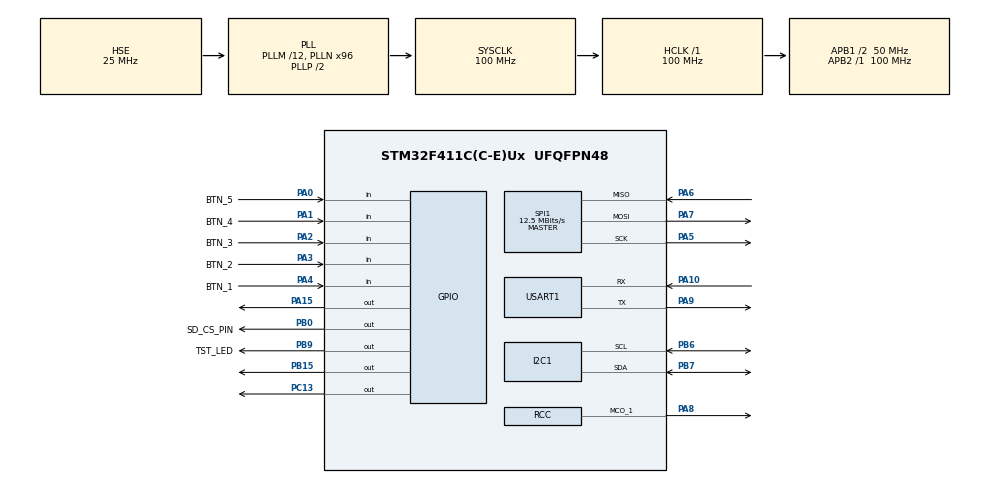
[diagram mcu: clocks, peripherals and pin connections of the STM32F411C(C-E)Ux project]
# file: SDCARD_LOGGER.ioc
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FATFS._MAX_SS=4096
FATFS._USE_LFN=1
IWDG.Prescaler=IWDG_PRESCALER_8
Mcu.Family=STM32F4
Mcu.Name=STM32F411C(C-E)Ux
Mcu.Package=UFQFPN48
NVIC.PriorityGroup=NVIC_PRIORITYGROUP_4
NVIC.USART1_IRQn=true\:0\:0\:false\:false\:true\:true\:true\:true
PA0-WKUP.GPIO_Label=BTN_5
PA0-WKUP.Signal=GPIO_Input
PA1.GPIO_Label=BTN_4
PA1.Signal=GPIO_Input
PA10.Mode=Asynchronous
PA10.Signal=USART1_RX
PA13.Mode=Serial_Wire
PA13.Signal=SYS_JTMS-SWDIO
PA14.Mode=Serial_Wire
PA14.Signal=SYS_JTCK-SWCLK
PA15.Signal=GPIO_Output
PA2.GPIO_Label=BTN_3
PA2.Signal=GPIO_Input
PA3.GPIO_Label=BTN_2
PA3.Signal=GPIO_Input
PA4.GPIO_Label=BTN_1
PA4.Signal=GPIO_Input
PA5.Mode=Full_Duplex_Master
PA5.Signal=SPI1_SCK
PA6.Mode=Full_Duplex_Master
PA6.Signal=SPI1_MISO
PA7.Mode=Full_Duplex_Master
PA7.Signal=SPI1_MOSI
PA8.Mode=Clock-out-1
PA8.Signal=RCC_MCO_1
PA9.Mode=Asynchronous
PA9.Signal=USART1_TX
PB0.GPIO_Label=SD_CS_PIN
PB0.Signal=GPIO_Output
PB15.Signal=GPIO_Output
PB6.Mode=I2C
PB6.Signal=I2C1_SCL
PB7.Mode=I2C
PB7.Signal=I2C1_SDA
PB9.GPIO_Label=TST_LED
PB9.Signal=GPIO_Output
PC13-ANTI_TAMP.Signal=GPIO_Output
PC14-OSC32_IN.Mode=LSE-External-Oscillator
PC14-OSC32_IN.Signal=RCC_OSC32_IN
PC15-OSC32_OUT.Mode=LSE-External-Oscillator
PC15-OSC32_OUT.Signal=RCC_OSC32_OUT
PH0\ -\ OSC_IN.Mode=HSE-External-Oscillator
PH0\ -\ OSC_IN.Signal=RCC_OSC_IN
PH1\ -\ OSC_OUT.Mode=HSE-External-Oscillator
PH1\ -\ OSC_OUT.Signal=RCC_OSC_OUT
ProjectManager.HeapSize=0x200
ProjectManager.StackSize=0x400
ProjectManager.TargetToolchain=STM32CubeIDE
RCC.48MHZClocksFreq_Value=50000000
RCC.AHBFreq_Value=100000000
RCC.APB1CLKDivider=RCC_HCLK_DIV2
RCC.APB1Freq_Value=50000000
RCC.APB1TimFreq_Value=100000000
RCC.APB2Freq_Value=100000000
RCC.APB2TimFreq_Value=100000000
RCC.CortexFreq_Value=100000000
RCC.HCLKFreq_Value=100000000
RCC.HSE_VALUE=25000000
RCC.HSI_VALUE=16000000
RCC.PLLM=12
RCC.PLLN=96
RCC.PLLSourceVirtual=RCC_PLLSOURCE_HSE
RCC.RCC_RTC_Clock_Source=RCC_RTCCLKSOURCE_LSE
RCC.RCC_RTC_Clock_SourceVirtual=RCC_RTCCLKSOURCE_LSE
RCC.SYSCLKFreq_VALUE=100000000
RCC.SYSCLKSource=RCC_SYSCLKSOURCE_PLLCLK
RCC.VCOOutputFreq_Value=200000000
RTC.Date=4
RTC.Hours=11
RTC.Minutes=50
RTC.Month=RTC_MONTH_MARCH
RTC.Seconds=10
RTC.WeekDay=RTC_WEEKDAY_TUESDAY
SPI1.BaudRatePrescaler=SPI_BAUDRATEPRESCALER_8
SPI1.CalculateBaudRate=12.5 MBits/s
SPI1.Direction=SPI_DIRECTION_2LINES
SPI1.Mode=SPI_MODE_MASTER
SPI1.VirtualType=VM_MASTER
USART1.VirtualMode=VM_ASYNC
VP_FATFS_VS_Generic.Mode=User_defined
VP_IWDG_VS_IWDG.Mode=IWDG_Activate
VP_RTC_VS_RTC_Activate.Mode=RTC_Enabled
VP_RTC_VS_RTC_Calendar.Mode=RTC_Calendar
board=custom

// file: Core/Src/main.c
/* USER CODE BEGIN Header */
/**
  ******************************************************************************
  * @file           : main.c
  * @brief          : Main program body
  ******************************************************************************
  * @attention
  *
  * Copyright (c) 2025 STMicroelectronics.
  * All rights reserved.
  *
  * This software is licensed under terms that can be found in the LICENSE file
  * in the root directory of this software component.
  * If no LICENSE file comes with this software, it is provided AS-IS.
  *
  ******************************************************************************
  */
/* USER CODE END Header */
#include "main.h"
#include "fatfs.h"

/* USER CODE BEGIN Includes */
#include "fatfs_sd.h"
#include "string.h"
#include "i2c-lcd.h"
#include "stdio.h"
#include "sdcard.h"
#include "rtc.h"
#include "app.h"

/* USER CODE END Includes */

/* USER CODE BEGIN PTD */
 FATFS fs; //file system
 FIL fil;  //file
 FRESULT fresult; //result
 UINT br,bw;   //file read and write count
 //int line_count = 0;
 RTC_HandleTypeDef hrtc;

/*CAPACITY RELATED VARIABLES*/
 FATFS *pfs;
 DWORD fre_clust;
 uint32_t total,free_space;

 char filename[40];

/* USER CODE END PTD */

/* USER CODE BEGIN PD */
// void processReceivedData(void);

/* USER CODE END PD */

I2C_HandleTypeDef hi2c1;

IWDG_HandleTypeDef hiwdg;

RTC_HandleTypeDef hrtc;

SPI_HandleTypeDef hspi1;

UART_HandleTypeDef huart1;

void SystemClock_Config(void);
static void MX_GPIO_Init(void);
static void MX_SPI1_Init(void);
static void MX_USART1_UART_Init(void);
static void MX_I2C1_Init(void);
static void MX_IWDG_Init(void);
/* USER CODE BEGIN PFP */
extern uint8_t rx_data;
/* USER CODE END PFP */

/* USER CODE BEGIN 0 */

//void HAL_UART_RxCpltCallback(UART_HandleTypeDef *huart)
//{
//  HAL_GPIO_TogglePin(GPIOA, GPIO_PIN_15);
//
//  if (huart->Instance == USART1)
//  {
//
//    if (rx_index < RX_BUFFER_SIZE - 1)
//    {
//
//      rxBuffer[rx_index++] = rx_data;
//
//
//      if (rx_data == '\n')
//      {
//
//        messageReceived = 1;
//      }
//
//
//      HAL_UART_Receive_IT(&huart1, &rx_data, 1);
//    }
//    else
//    {
//	 rx_index = 0;
//      memset(rxBuffer, 0, RX_BUFFER_SIZE);
//      HAL_UART_Receive_IT(&huart1, &rx_data, 1);
//    }
//  }
//}
//
//void processReceivedData(void)
//{
//	if(messageReceived == 0) return 0;
//  // Send the received data back (for testing)
// // HAL_UART_Transmit(&huart1, (uint8_t*)rxBuffer, strlen(rxBuffer), HAL_MAX_DELAY);
//	log_to_sdcard(rxBuffer);
//
//}

/* USER CODE END 0 */

int main(void)
{

  /* MCU Configuration--------------------------------------------------------*/

  /* Reset of all peripherals, Initializes the Flash interface and the Systick. */
  HAL_Init();

  /* Configure the system clock */
  SystemClock_Config();

  /* Initialize all configured peripherals */
  MX_GPIO_Init();
  MX_SPI1_Init();
  MX_USART1_UART_Init();
  MX_FATFS_Init();
  MX_I2C1_Init();
  MX_RTC_Init();
 // MX_IWDG_Init();
  /* USER CODE BEGIN 2 */

    MainInit();
    create_new_file();
    HAL_UART_Receive_IT(&huart1, &rx_data, 1);

 //   lcd_clear();

    /* USER CODE END 2 */

  /* Infinite loop */
  /* USER CODE BEGIN WHILE */
  while (1)
  {
	  HandleButtonPress();
	  HAL_IWDG_Refresh(&hiwdg);

    /* USER CODE END WHILE */

  }
}

void SystemClock_Config(void)
{
  RCC_OscInitTypeDef RCC_OscInitStruct = {0};
  RCC_ClkInitTypeDef RCC_ClkInitStruct = {0};

  /** Configure the main internal regulator output voltage
  */
  __HAL_RCC_PWR_CLK_ENABLE();
  __HAL_PWR_VOLTAGESCALING_CONFIG(PWR_REGULATOR_VOLTAGE_SCALE1);

  /** Initializes the RCC Oscillators according to the specified parameters
  * in the RCC_OscInitTypeDef structure.
  */
  RCC_OscInitStruct.OscillatorType = RCC_OSCILLATORTYPE_HSI|RCC_OSCILLATORTYPE_LSI
                              |RCC_OSCILLATORTYPE_HSE|RCC_OSCILLATORTYPE_LSE;
  RCC_OscInitStruct.HSEState = RCC_HSE_ON;
  RCC_OscInitStruct.LSEState = RCC_LSE_ON;
  RCC_OscInitStruct.HSIState = RCC_HSI_ON;
  RCC_OscInitStruct.HSICalibrationValue = RCC_HSICALIBRATION_DEFAULT;
  RCC_OscInitStruct.LSIState = RCC_LSI_ON;
  RCC_OscInitStruct.PLL.PLLState = RCC_PLL_ON;
  RCC_OscInitStruct.PLL.PLLSource = RCC_PLLSOURCE_HSE;
  RCC_OscInitStruct.PLL.PLLM = 12;
  RCC_OscInitStruct.PLL.PLLN = 96;
  RCC_OscInitStruct.PLL.PLLP = RCC_PLLP_DIV2;
  RCC_OscInitStruct.PLL.PLLQ = 4;
  if (HAL_RCC_OscConfig(&RCC_OscInitStruct) != HAL_OK)
  {
    Error_Handler();
  }

  /** Initializes the CPU, AHB and APB buses clocks
  */
  RCC_ClkInitStruct.ClockType = RCC_CLOCKTYPE_HCLK|RCC_CLOCKTYPE_SYSCLK
                              |RCC_CLOCKTYPE_PCLK1|RCC_CLOCKTYPE_PCLK2;
  RCC_ClkInitStruct.SYSCLKSource = RCC_SYSCLKSOURCE_PLLCLK;
  RCC_ClkInitStruct.AHBCLKDivider = RCC_SYSCLK_DIV1;
  RCC_ClkInitStruct.APB1CLKDivider = RCC_HCLK_DIV2;
  RCC_ClkInitStruct.APB2CLKDivider = RCC_HCLK_DIV1;

  if (HAL_RCC_ClockConfig(&RCC_ClkInitStruct, FLASH_LATENCY_3) != HAL_OK)
  {
    Error_Handler();
  }
  HAL_RCC_MCOConfig(RCC_MCO1, RCC_MCO1SOURCE_HSI, RCC_MCODIV_1);
}

static void MX_I2C1_Init(void)
{

  hi2c1.Instance = I2C1;
  hi2c1.Init.ClockSpeed = 100000;
  hi2c1.Init.DutyCycle = I2C_DUTYCYCLE_2;
  hi2c1.Init.OwnAddress1 = 0;
  hi2c1.Init.AddressingMode = I2C_ADDRESSINGMODE_7BIT;
  hi2c1.Init.DualAddressMode = I2C_DUALADDRESS_DISABLE;
  hi2c1.Init.OwnAddress2 = 0;
  hi2c1.Init.GeneralCallMode = I2C_GENERALCALL_DISABLE;
  hi2c1.Init.NoStretchMode = I2C_NOSTRETCH_DISABLE;
  if (HAL_I2C_Init(&hi2c1) != HAL_OK)
  {
    Error_Handler();
  }

}

static void MX_IWDG_Init(void)
{

  hiwdg.Instance = IWDG;
  hiwdg.Init.Prescaler = IWDG_PRESCALER_8;
  hiwdg.Init.Reload = 4095;
  if (HAL_IWDG_Init(&hiwdg) != HAL_OK)
  {
    Error_Handler();
  }

}

static void MX_SPI1_Init(void)
{

  /* SPI1 parameter configuration*/
  hspi1.Instance = SPI1;
  hspi1.Init.Mode = SPI_MODE_MASTER;
  hspi1.Init.Direction = SPI_DIRECTION_2LINES;
  hspi1.Init.DataSize = SPI_DATASIZE_8BIT;
  hspi1.Init.CLKPolarity = SPI_POLARITY_LOW;
  hspi1.Init.CLKPhase = SPI_PHASE_1EDGE;
  hspi1.Init.NSS = SPI_NSS_SOFT;
  hspi1.Init.BaudRatePrescaler = SPI_BAUDRATEPRESCALER_8;
  hspi1.Init.FirstBit = SPI_FIRSTBIT_MSB;
  hspi1.Init.TIMode = SPI_TIMODE_DISABLE;
  hspi1.Init.CRCCalculation = SPI_CRCCALCULATION_DISABLE;
  hspi1.Init.CRCPolynomial = 10;
  if (HAL_SPI_Init(&hspi1) != HAL_OK)
  {
    Error_Handler();
  }

}

static void MX_USART1_UART_Init(void)
{

  huart1.Instance = USART1;
  huart1.Init.BaudRate = 115200;
  huart1.Init.WordLength = UART_WORDLENGTH_8B;
  huart1.Init.StopBits = UART_STOPBITS_1;
  huart1.Init.Parity = UART_PARITY_NONE;
  huart1.Init.Mode = UART_MODE_TX_RX;
  huart1.Init.HwFlowCtl = UART_HWCONTROL_NONE;
  huart1.Init.OverSampling = UART_OVERSAMPLING_16;
  if (HAL_UART_Init(&huart1) != HAL_OK)
  {
    Error_Handler();
  }

}

static void MX_GPIO_Init(void)
{
  GPIO_InitTypeDef GPIO_InitStruct = {0};

  /* GPIO Ports Clock Enable */
  __HAL_RCC_GPIOC_CLK_ENABLE();
  __HAL_RCC_GPIOH_CLK_ENABLE();
  __HAL_RCC_GPIOA_CLK_ENABLE();
  __HAL_RCC_GPIOB_CLK_ENABLE();

  /*Configure GPIO pin Output Level */
  HAL_GPIO_WritePin(GPIOC, GPIO_PIN_13, GPIO_PIN_RESET);

  /*Configure GPIO pin Output Level */
  HAL_GPIO_WritePin(GPIOB, SD_CS_PIN_Pin|GPIO_PIN_15|TST_LED_Pin, GPIO_PIN_RESET);

  /*Configure GPIO pin Output Level */
  HAL_GPIO_WritePin(GPIOA, GPIO_PIN_15, GPIO_PIN_RESET);

  /*Configure GPIO pin : PC13 */
  GPIO_InitStruct.Pin = GPIO_PIN_13;
  GPIO_InitStruct.Mode = GPIO_MODE_OUTPUT_PP;
  GPIO_InitStruct.Pull = GPIO_NOPULL;
  GPIO_InitStruct.Speed = GPIO_SPEED_FREQ_LOW;
  HAL_GPIO_Init(GPIOC, &GPIO_InitStruct);

  /*Configure GPIO pins : BTN_5_Pin BTN_4_Pin BTN_3_Pin BTN_2_Pin
                           BTN_1_Pin */
  GPIO_InitStruct.Pin = BTN_5_Pin|BTN_4_Pin|BTN_3_Pin|BTN_2_Pin
                          |BTN_1_Pin;
  GPIO_InitStruct.Mode = GPIO_MODE_INPUT;
  GPIO_InitStruct.Pull = GPIO_PULLDOWN;
  HAL_GPIO_Init(GPIOA, &GPIO_InitStruct);

  /*Configure GPIO pins : SD_CS_PIN_Pin PB15 TST_LED_Pin */
  GPIO_InitStruct.Pin = SD_CS_PIN_Pin|GPIO_PIN_15|TST_LED_Pin;
  GPIO_InitStruct.Mode = GPIO_MODE_OUTPUT_PP;
  GPIO_InitStruct.Pull = GPIO_NOPULL;
  GPIO_InitStruct.Speed = GPIO_SPEED_FREQ_LOW;
  HAL_GPIO_Init(GPIOB, &GPIO_InitStruct);

  /*Configure GPIO pin : PA8 */
  GPIO_InitStruct.Pin = GPIO_PIN_8;
  GPIO_InitStruct.Mode = GPIO_MODE_AF_PP;
  GPIO_InitStruct.Pull = GPIO_NOPULL;
  GPIO_InitStruct.Speed = GPIO_SPEED_FREQ_LOW;
  GPIO_InitStruct.Alternate = GPIO_AF0_MCO;
  HAL_GPIO_Init(GPIOA, &GPIO_InitStruct);

  /*Configure GPIO pin : PA15 */
  GPIO_InitStruct.Pin = GPIO_PIN_15;
  GPIO_InitStruct.Mode = GPIO_MODE_OUTPUT_PP;
  GPIO_InitStruct.Pull = GPIO_NOPULL;
  GPIO_InitStruct.Speed = GPIO_SPEED_FREQ_LOW;
  HAL_GPIO_Init(GPIOA, &GPIO_InitStruct);

}

void Error_Handler(void)
{
  __disable_irq();
  while (1)
  {
  }
}
